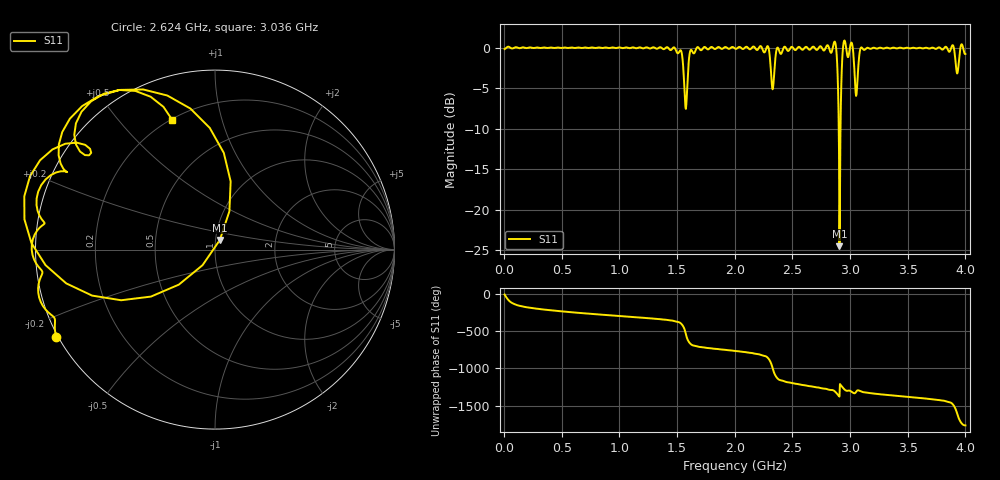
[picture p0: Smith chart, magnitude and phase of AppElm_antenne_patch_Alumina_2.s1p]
! TOUCHSTONE file generated by CST MICROWAVE STUDIO
! Date and time: Thu Jun  9 14:52:34 2022
! Project name: AppElm_antenne_patch_Alumina.cst
! Parameters = {L=30.5; W=41.8; e=0.035; h=1.6; lambda=0.190476; ls=90; w0=1.12; w1=0.373; ws=90; y0=11.2; y1=10}
! Header version: 2018
! Port assignment regex: !\s*Touchstone port\s*([0-9]+)\s*=\s*(CST MWS port|CST DS port)\s*([0-9]+|Zmin|Zmax)\s*\(\"(.*)\"\)(\s*mode\s*([0-9]+))?.*
! Touchstone port assignment:
! Touchstone port 1 = CST MWS port 1 ("")
# GHz S MA R 50
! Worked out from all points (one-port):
!   1000 points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, 4 MHz to 4 GHz, reference 50 ohm
!   lowest |S11| = -24.5 dB at 2.908 GHz (marker M1), VSWR 1.13, Z = 52.4 + j5.59 ohm
!   |S11| at or under -10 dB: 2.902 GHz to 2.917 GHz (15.49 MHz wide, 0.532 % of centre)
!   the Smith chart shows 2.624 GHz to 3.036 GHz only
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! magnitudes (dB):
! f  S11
! 4 MHz  -0.2
! 504 MHz  0.0
! 1.004 GHz  0.0
! 1.504 GHz  -0.7
! 1.536 GHz  -0.4
! 1.576 GHz  -7.6
! 1.612 GHz  -0.5
! 1.628 GHz  -0.4
! 2.004 GHz  -0.1
! 2.28 GHz  0.2
! 2.328 GHz  -5.1
! 2.372 GHz  0.0
! 2.504 GHz  0.0
! 2.864 GHz  0.7
! 2.88 GHz  -0.2
! 2.892 GHz  -3.4
! 2.908 GHz  -24.5
! 2.924 GHz  -4.5
! 2.936 GHz  -0.5
! 2.948 GHz  0.9
! 3.004 GHz  0.4
! 3.056 GHz  -5.7
! 3.104 GHz  0.0
! 3.504 GHz  0.0
! 3.884 GHz  0.2
! 3.928 GHz  -3.2
! 3.968 GHz  0.4
! 4 GHz  -0.8
